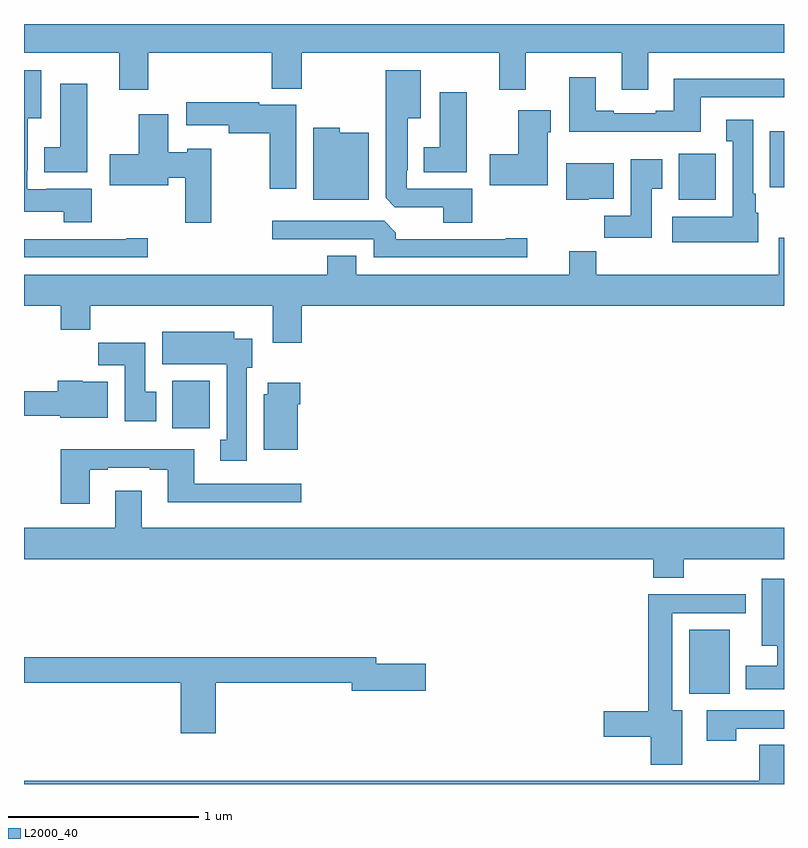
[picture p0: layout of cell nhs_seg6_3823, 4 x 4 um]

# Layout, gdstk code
import gdstk
lib = gdstk.Library(unit=1e-6, precision=1e-09)
def R(c, l, rs):  # rectangles x0, y0, x1, y1
    for r in rs: c.add(gdstk.rectangle(r[:2], r[2:], *l))
def P(c, l, *ps):  # polygons
    for p in ps: c.add(gdstk.Polygon(p, *l))
L2000_40 = (2000, 40)

nhs_seg6_3823 = lib.new_cell('nhs_seg6_3823')
R(nhs_seg6_3823, L2000_40, [(340.502,931.976,340.714,932.311), (337.781,933.372,337.977,933.622), (340.445,934.574,340.642,934.816), (340.925,934.64,341,934.936)])
P(nhs_seg6_3823, L2000_40, [(337.655,935.348),(338.303,935.348),(338.303,935.159),(338.463,935.159),(338.463,935.348),(339.5,935.348),(339.5,935.154),(339.64,935.154),(339.64,935.348),(340.145,935.348),(340.145,935.154),(340.285,935.154),(340.285,935.348),(341,935.348),(341,935.5),(337,935.5),(337,935.348),(337.502,935.348),(337.502,935.154),(337.655,935.154)],
  [(339.359,934.632),(339.015,934.632),(339.015,934.729),(339.019,934.729),(339.019,935.003),(339.088,935.003),(339.088,935.257),(338.903,935.257),(338.903,934.585),(338.952,934.536),(339.206,934.536),(339.206,934.453),(339.359,934.453)],
  [(337.357,934.633),(337.117,934.633),(337.117,934.629),(337.017,934.629),(337.017,934.729),(337.021,934.729),(337.021,935.003),(337.09,935.003),(337.09,935.257),(337,935.257),(337,934.512),(337.208,934.512),(337.208,934.457),(337.357,934.457)],
  [(340.561,935.115),(341,935.115),(341,935.212),(340.421,935.212),(340.421,935.044),(340.325,935.044),(340.325,935.031),(340.105,935.031),(340.105,935.044),(340.009,935.044),(340.009,935.221),(339.869,935.221),(339.869,934.934),(340.561,934.934)],
  [(337.333,935.185),(337.19,935.185),(337.19,934.852),(337.106,934.852),(337.106,934.721),(337.333,934.721)],
  [(339.331,935.14),(339.188,935.14),(339.188,934.852),(339.104,934.852),(339.104,934.721),(339.331,934.721)],
  [(338.434,935.074),(338.238,935.074),(338.238,935.089),(337.854,935.089),(337.854,934.967),(338.078,934.967),(338.078,934.925),(338.293,934.925),(338.293,934.632),(338.434,934.632)],
  [(339.757,934.929),(339.772,934.929),(339.772,935.047),(339.602,935.047),(339.602,934.815),(339.45,934.815),(339.45,934.652),(339.757,934.652)],
  [(337.986,934.843),(337.86,934.843),(337.86,934.825),(337.759,934.825),(337.759,935.026),(337.604,935.026),(337.604,934.815),(337.452,934.815),(337.452,934.652),(337.759,934.652),(337.759,934.691),(337.849,934.691),(337.849,934.455),(337.986,934.455)],
  [(340.864,934.506),(340.852,934.506),(340.852,934.606),(340.837,934.606),(340.837,934.996),(340.697,934.996),(340.697,934.883),(340.73,934.883),(340.73,934.486),(340.413,934.486),(340.413,934.352),(340.864,934.352)],
  [(338.815,934.927),(338.661,934.927),(338.661,934.954),(338.522,934.954),(338.522,934.574),(338.815,934.574)],
  [(340.303,934.633),(340.36,934.633),(340.36,934.789),(340.193,934.789),(340.193,934.492),(340.054,934.492),(340.054,934.374),(340.303,934.374)],
  [(339.972,934.58),(340.105,934.58),(340.105,934.768),(339.854,934.768),(339.854,934.574),(339.972,934.574)],
  [(339.649,934.373),(339.536,934.373),(339.536,934.368),(338.957,934.368),(338.957,934.402),(338.895,934.464),(338.307,934.464),(338.307,934.368),(338.841,934.368),(338.841,934.272),(339.649,934.272)],
  [(338.462,934.016),(341,934.016),(341,934.375),(340.973,934.375),(340.973,934.18),(340.013,934.18),(340.013,934.304),(339.869,934.304),(339.869,934.18),(338.749,934.18),(338.749,934.279),(338.597,934.279),(338.597,934.18),(337,934.18),(337,934.016),(337.193,934.016),(337.193,933.892),(337.349,933.892),(337.349,934.016),(338.309,934.016),(338.309,933.822),(338.462,933.822)],
  [(337.651,934.373),(337.538,934.373),(337.538,934.368),(337,934.368),(337,934.272),(337.651,934.272)],
  [(338.173,933.69),(338.2,933.69),(338.2,933.844),(338.107,933.844),(338.107,933.88),(337.727,933.88),(337.727,933.71),(338.066,933.71),(338.066,933.313),(338.033,933.313),(338.033,933.201),(338.173,933.201)],
  [(337.696,933.564),(337.639,933.564),(337.639,933.822),(337.39,933.822),(337.39,933.704),(337.529,933.704),(337.529,933.408),(337.696,933.408)],
  [(337.441,933.616),(337.308,933.616),(337.308,933.622),(337.178,933.622),(337.178,933.568),(337,933.568),(337,933.439),(337.19,933.439),(337.19,933.428),(337.441,933.428)],
  [(338.44,933.5),(338.453,933.5),(338.453,933.613),(338.282,933.613),(338.282,933.552),(338.261,933.552),(338.261,933.26),(338.44,933.26)],
  [(337.345,933.153),(337.441,933.153),(337.441,933.165),(337.661,933.165),(337.661,933.153),(337.757,933.153),(337.757,932.984),(338.458,932.984),(338.458,933.081),(337.897,933.081),(337.897,933.262),(337.193,933.262),(337.193,932.976),(337.345,932.976)],
  [(340.473,932.684),(341,932.684),(341,932.848),(337.621,932.848),(337.621,933.043),(337.481,933.043),(337.481,932.848),(337,932.848),(337,932.684),(340.313,932.684),(340.313,932.585),(340.473,932.585)],
  [(341,932.581),(340.883,932.581),(340.883,932.228),(340.964,932.228),(340.964,932.122),(340.799,932.122),(340.799,932),(341,932)],
  [(340.465,931.888),(340.411,931.888),(340.411,932.4),(340.798,932.4),(340.798,932.498),(340.286,932.498),(340.286,931.883),(340.05,931.883),(340.05,931.748),(340.298,931.748),(340.298,931.602),(340.465,931.602)],
  [(338.009,932.032),(338.726,932.032),(338.726,931.99),(339.115,931.99),(339.115,932.132),(338.854,932.132),(338.854,932.168),(337,932.168),(337,932.032),(337.826,932.032),(337.826,931.767),(338.009,931.767)],
  [(340.749,931.791),(341,931.791),(341,931.887),(340.593,931.887),(340.593,931.728),(340.749,931.728)],
  [(341,931.706),(340.87,931.706),(340.87,931.516),(337,931.516),(337,931.5),(341,931.5)])

lib.write_gds('nhs_seg6_3823.gds')
